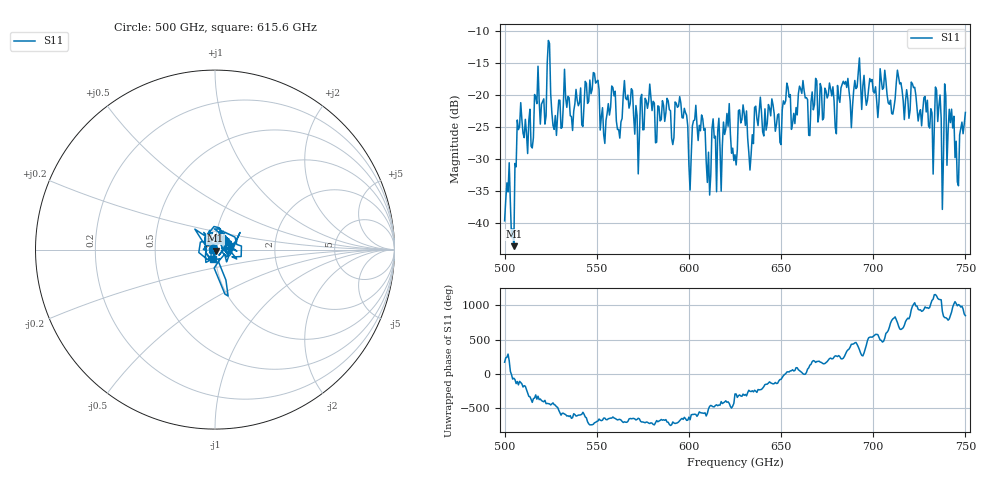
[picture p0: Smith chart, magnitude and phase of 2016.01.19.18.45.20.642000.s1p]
!Created with skrf (http://scikit-rf.org).
# GHz S RI R 50.0
!freq ReS11 ImS11
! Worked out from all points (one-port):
!   401 points, 500 GHz to 750 GHz, reference 50 ohm
!   lowest |S11| = -43.6 dB at 505 GHz (marker M1), VSWR 1.01, Z = 50.3 - j0.593 ohm
!   |S11| at or under -10 dB: start of sweep to end of sweep
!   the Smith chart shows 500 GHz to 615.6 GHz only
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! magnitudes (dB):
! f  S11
! 500 GHz  -39.6
! 505 GHz  -43.6
! 508.1 GHz  -24.9
! 513.8 GHz  -22.2
! 524.4 GHz  -11.9
! 526.9 GHz  -25.3
! 531.2 GHz  -25.0
! 549.4 GHz  -18.1
! 553.1 GHz  -21.9
! 558.8 GHz  -18.8
! 562.5 GHz  -26.7
! 565.6 GHz  -20.4
! 571.9 GHz  -23.2
! 593.8 GHz  -21.9
! 600.6 GHz  -34.8
! 607.5 GHz  -23.7
! 610.6 GHz  -28.9
! 620.6 GHz  -22.8
! 625 GHz  -29.3
! 628.1 GHz  -24.3
! 633.8 GHz  -29.2
! 637.5 GHz  -24.7
! 656.2 GHz  -24.4
! 687.5 GHz  -20.9
! 718.8 GHz  -20.5
! 735 GHz  -24.1
! 745.6 GHz  -33.5
! 750 GHz  -22.7
